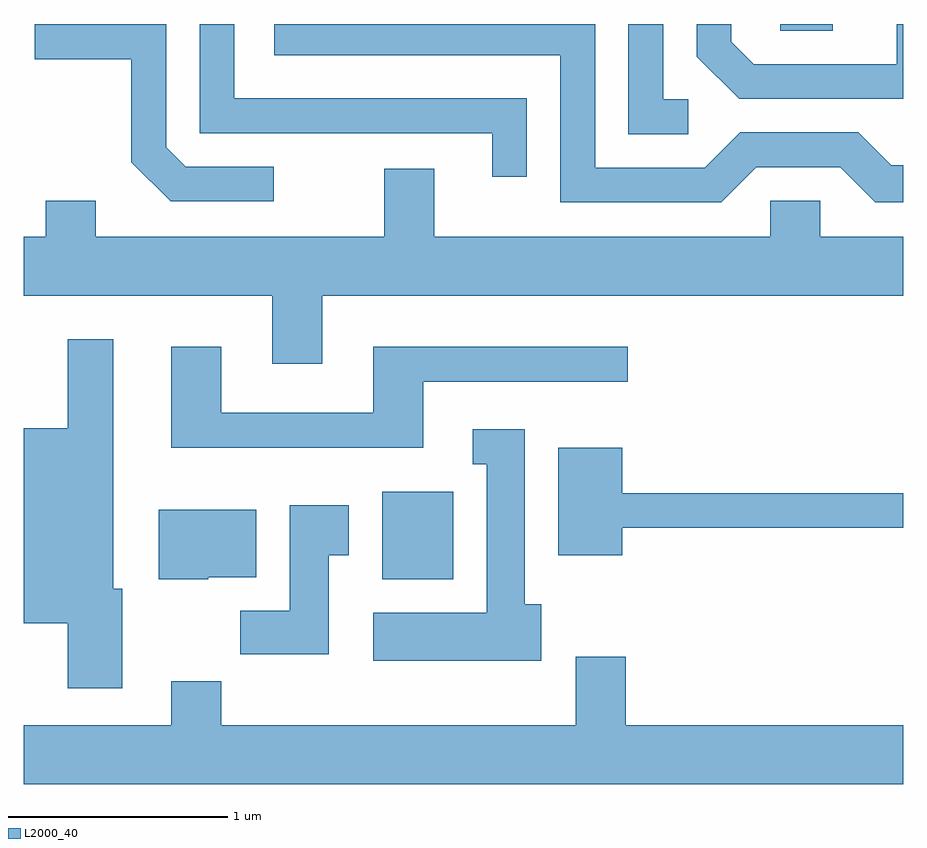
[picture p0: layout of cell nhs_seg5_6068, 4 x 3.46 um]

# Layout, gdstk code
import gdstk
lib = gdstk.Library(unit=1e-6, precision=1e-09)
def R(c, l, rs):  # rectangles x0, y0, x1, y1
    for r in rs: c.add(gdstk.rectangle(r[:2], r[2:], *l))
def P(c, l, *ps):  # polygons
    for p in ps: c.add(gdstk.Polygon(p, *l))
L2000_40 = (2000, 40)

nhs_seg5_6068 = lib.new_cell('nhs_seg5_6068')
R(nhs_seg5_6068, L2000_40, [(367.241,1415.546,367.564,1415.944), (369.051,1418.041,369.289,1418.072)])
P(nhs_seg5_6068, L2000_40, [(369.611,1418.072),(369.581,1418.072),(369.581,1417.889),(368.932,1417.889),(368.829,1417.992),(368.829,1418.072),(368.671,1418.072),(368.671,1417.924),(368.864,1417.731),(369.611,1417.731)],
  [(368.633,1417.729),(368.519,1417.729),(368.519,1418.072),(368.361,1418.072),(368.361,1417.571),(368.633,1417.571)],
  [(368.942,1417.421),(369.324,1417.421),(369.484,1417.261),(369.611,1417.261),(369.611,1417.429),(369.557,1417.429),(369.407,1417.579),(368.869,1417.579),(368.709,1417.419),(368.209,1417.419),(368.209,1418.072),(366.751,1418.072),(366.751,1417.931),(368.051,1417.931),(368.051,1417.261),(368.782,1417.261)],
  [(367.899,1417.734),(366.569,1417.734),(366.569,1418.072),(366.411,1418.072),(366.411,1417.576),(367.741,1417.576),(367.741,1417.378),(367.899,1417.378)],
  [(366.748,1417.424),(366.347,1417.424),(366.259,1417.512),(366.259,1418.072),(365.661,1418.072),(365.661,1417.911),(366.101,1417.911),(366.101,1417.444),(366.279,1417.266),(366.748,1417.266)],
  [(366.969,1416.836),(369.611,1416.836),(369.611,1417.104),(369.234,1417.104),(369.234,1417.269),(369.006,1417.269),(369.006,1417.104),(367.479,1417.104),(367.479,1417.414),(367.251,1417.414),(367.251,1417.104),(365.939,1417.104),(365.939,1417.269),(365.711,1417.269),(365.711,1417.104),(365.611,1417.104),(365.611,1416.836),(366.741,1416.836),(366.741,1416.526),(366.969,1416.526)],
  [(366.059,1415.504),(366.019,1415.504),(366.019,1416.639),(365.811,1416.639),(365.811,1416.234),(365.611,1416.234),(365.611,1415.346),(365.811,1415.346),(365.811,1415.051),(366.059,1415.051)],
  [(367.429,1416.446),(368.358,1416.446),(368.358,1416.604),(367.201,1416.604),(367.201,1416.304),(366.509,1416.304),(366.509,1416.604),(366.281,1416.604),(366.281,1416.146),(367.429,1416.146)],
  [(367.964,1415.434),(367.889,1415.434),(367.889,1416.229),(367.653,1416.229),(367.653,1416.071),(367.716,1416.071),(367.716,1415.394),(367.201,1415.394),(367.201,1415.176),(367.964,1415.176)],
  [(368.334,1415.781),(369.611,1415.781),(369.611,1415.939),(368.334,1415.939),(368.334,1416.144),(368.041,1416.144),(368.041,1415.656),(368.334,1415.656)],
  [(366.999,1415.656),(367.089,1415.656),(367.089,1415.884),(366.821,1415.884),(366.821,1415.404),(366.596,1415.404),(366.596,1415.206),(366.999,1415.206)],
  [(366.45,1415.556),(366.669,1415.556),(366.669,1415.864),(366.226,1415.864),(366.226,1415.546),(366.45,1415.546)],
  [(369.611,1414.884),(368.349,1414.884),(368.349,1415.194),(368.121,1415.194),(368.121,1414.884),(366.509,1414.884),(366.509,1415.084),(366.281,1415.084),(366.281,1414.884),(365.611,1414.884),(365.611,1414.616),(369.611,1414.616)])

lib.write_gds('nhs_seg5_6068.gds')
